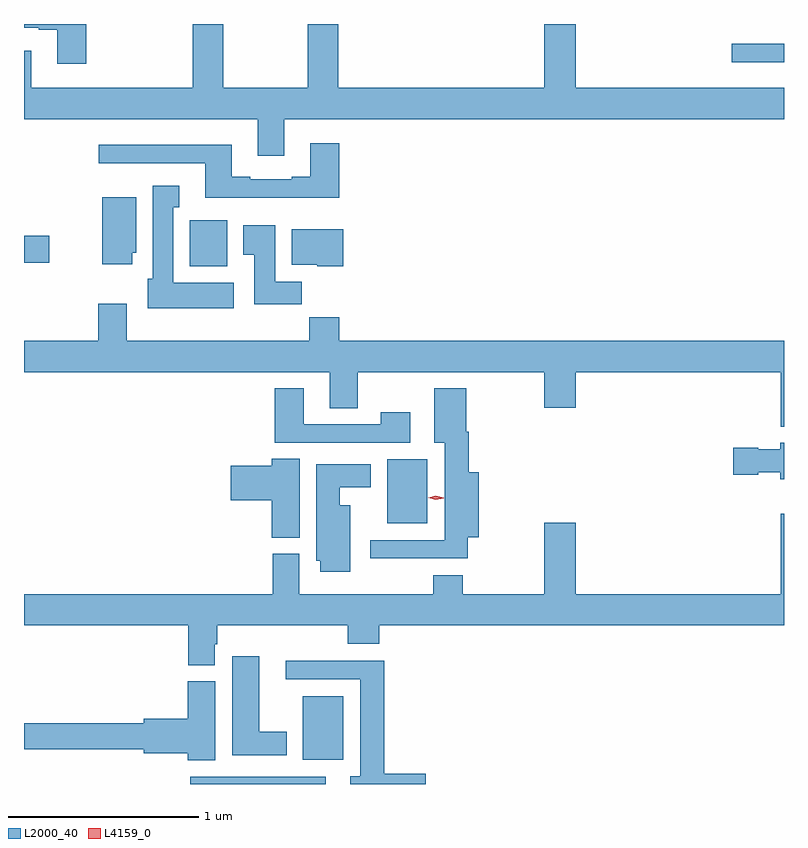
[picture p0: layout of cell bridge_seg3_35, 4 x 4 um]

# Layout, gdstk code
import gdstk
lib = gdstk.Library(unit=1e-6, precision=1e-09)
def R(c, l, rs):  # rectangles x0, y0, x1, y1
    for r in rs: c.add(gdstk.rectangle(r[:2], r[2:], *l))
def P(c, l, *ps):  # polygons
    for p in ps: c.add(gdstk.Polygon(p, *l))
L2000_40 = (2000, 40)
L4159_0 = (4159, 0)

bridge_seg3_35 = lib.new_cell('bridge_seg3_35')
R(bridge_seg3_35, L2000_40, [(714.593,694.752,715.306,694.791), (715.184,694.88,715.396,695.215), (715.628,696.125,715.84,696.46), (714.59,697.478,714.787,697.72), (717.441,698.552,717.717,698.649)])
P(bridge_seg3_35, L2000_40, [(715.087,698.252),(717.717,698.252),(717.717,698.416),(716.62,698.416),(716.62,698.752),(716.456,698.752),(716.456,698.416),(715.37,698.416),(715.37,698.752),(715.21,698.752),(715.21,698.416),(714.765,698.416),(714.765,698.752),(714.605,698.752),(714.605,698.416),(713.755,698.416),(713.755,698.611),(713.717,698.611),(713.717,698.252),(714.947,698.252),(714.947,698.058),(715.087,698.058)],
  [(714.044,698.752),(713.717,698.752),(713.717,698.733),(713.795,698.733),(713.795,698.721),(713.891,698.721),(713.891,698.544),(714.044,698.544)],
  [(715.376,698.125),(715.223,698.125),(715.223,697.948),(715.127,697.948),(715.127,697.935),(714.907,697.935),(714.907,697.948),(714.811,697.948),(714.811,698.116),(714.111,698.116),(714.111,698.019),(714.671,698.019),(714.671,697.838),(715.376,697.838)],
  [(714.82,697.39),(714.502,697.39),(714.502,697.787),(714.535,697.787),(714.535,697.9),(714.395,697.9),(714.395,697.41),(714.368,697.41),(714.368,697.256),(714.82,697.256)],
  [(714.286,697.548),(714.307,697.548),(714.307,697.84),(714.128,697.84),(714.128,697.488),(714.286,697.488)],
  [(715.178,697.396),(715.039,697.396),(715.039,697.693),(714.872,697.693),(714.872,697.537),(714.929,697.537),(714.929,697.278),(715.178,697.278)],
  [(715.396,697.672),(715.127,697.672),(715.127,697.484),(715.26,697.484),(715.26,697.478),(715.396,697.478)],
  [(713.851,697.637),(713.718,697.637),(713.718,697.624),(713.717,697.624),(713.717,697.502),(713.718,697.502),(713.718,697.495),(713.851,697.495)],
  [(717.717,697.084),(715.376,697.084),(715.376,697.208),(715.219,697.208),(715.219,697.084),(714.259,697.084),(714.259,697.279),(714.107,697.279),(714.107,697.084),(713.717,697.084),(713.717,696.92),(715.325,696.92),(715.325,696.73),(715.473,696.73),(715.473,696.92),(716.456,696.92),(716.456,696.732),(716.62,696.732),(716.62,696.92),(717.701,696.92),(717.701,696.632),(717.717,696.632)],
  [(716.052,696.05),(716.11,696.05),(716.11,696.394),(716.057,696.394),(716.057,696.606),(716.044,696.606),(716.044,696.835),(715.877,696.835),(715.877,696.548),(715.931,696.548),(715.931,696.036),(715.539,696.036),(715.539,695.939),(716.052,695.939)],
  [(715.75,696.709),(715.594,696.709),(715.594,696.645),(715.189,696.645),(715.189,696.835),(715.037,696.835),(715.037,696.549),(715.75,696.549)],
  [(717.717,696.547),(717.698,696.547),(717.698,696.514),(717.582,696.514),(717.582,696.522),(717.45,696.522),(717.45,696.38),(717.582,696.38),(717.582,696.392),(717.698,696.392),(717.698,696.356),(717.717,696.356)],
  [(715.168,696.464),(715.022,696.464),(715.022,696.428),(714.804,696.428),(714.804,696.245),(715.022,696.245),(715.022,696.049),(715.168,696.049)],
  [(715.435,696.22),(715.378,696.22),(715.378,696.314),(715.543,696.314),(715.543,696.436),(715.256,696.436),(715.256,695.928),(715.277,695.928),(715.277,695.868),(715.435,695.868)],
  [(714.721,695.487),(714.734,695.487),(714.734,695.588),(715.421,695.588),(715.421,695.489),(715.586,695.489),(715.586,695.588),(717.717,695.588),(717.717,696.175),(717.701,696.175),(717.701,695.752),(716.62,695.752),(716.62,696.127),(716.456,696.127),(716.456,695.752),(716.025,695.752),(716.025,695.851),(715.87,695.851),(715.87,695.752),(715.165,695.752),(715.165,695.964),(715.025,695.964),(715.025,695.752),(713.717,695.752),(713.717,695.588),(714.581,695.588),(714.581,695.377),(714.721,695.377)],
  [(715.099,695.026),(714.955,695.026),(714.955,695.425),(714.812,695.425),(714.812,694.904),(715.099,694.904)],
  [(715.831,694.805),(715.613,694.805),(715.613,695.402),(715.095,695.402),(715.095,695.304),(715.487,695.304),(715.487,694.792),(715.433,694.792),(715.433,694.752),(715.831,694.752)],
  [(714.724,695.292),(714.578,695.292),(714.578,695.096),(714.347,695.096),(714.347,695.072),(713.717,695.072),(713.717,694.936),(714.347,694.936),(714.347,694.913),(714.578,694.913),(714.578,694.876),(714.724,694.876)])
P(bridge_seg3_35, L4159_0, [(715.885,696.248),(715.845,696.258),(715.845,696.258),(715.845,696.258),(715.885,696.268),(715.925,696.258),(715.926,696.257),(715.925,696.257)])

lib.write_gds('bridge_seg3_35.gds')
